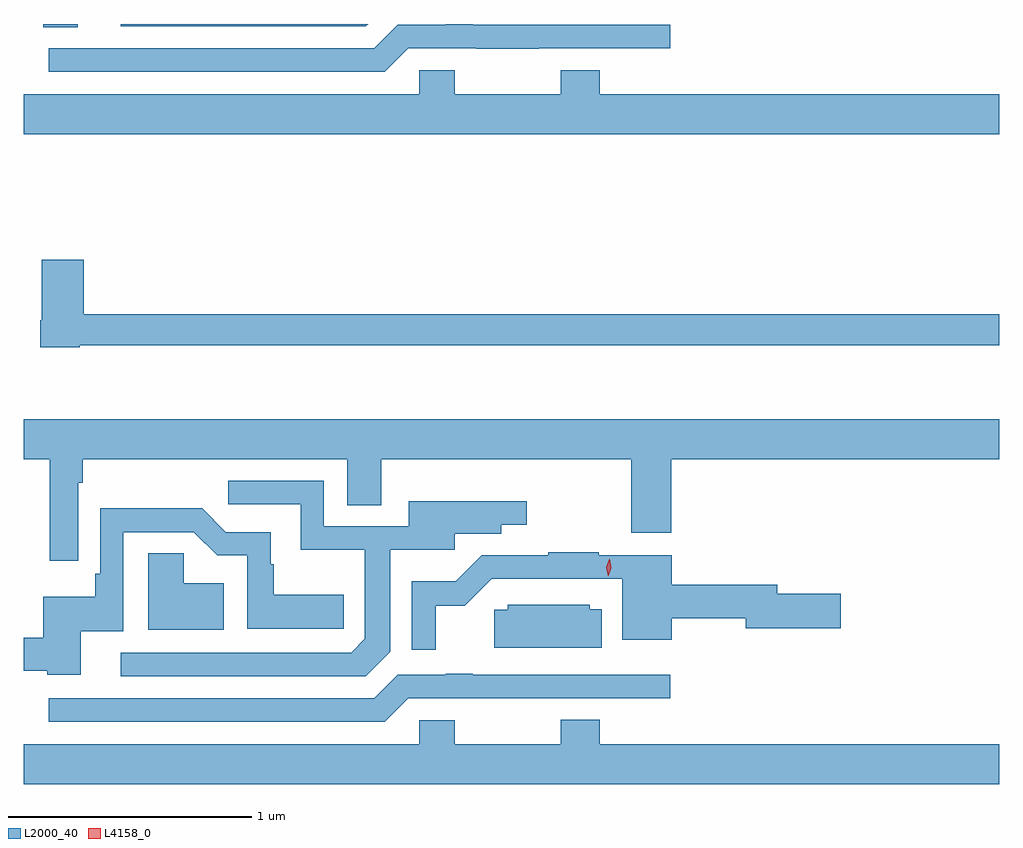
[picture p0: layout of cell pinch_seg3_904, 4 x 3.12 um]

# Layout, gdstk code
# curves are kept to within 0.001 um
import gdstk
lib = gdstk.Library(unit=1e-6, precision=1e-09)
def R(c, l, rs):  # rectangles x0, y0, x1, y1
    for r in rs: c.add(gdstk.rectangle(r[:2], r[2:], *l))
def P(c, l, *ps):  # polygons
    for p in ps: c.add(gdstk.Polygon(p, *l))
L2000_40 = (2000, 40)
L4158_0 = (4158, 0)

pinch_seg3_904 = lib.new_cell('pinch_seg3_904')
R(pinch_seg3_904, L2000_40, [(777.626,673.383,777.766,673.396)])
P(pinch_seg3_904, L2000_40, [(779.121,673.296),(780.196,673.296),(780.196,673.392),(779.387,673.392),(779.387,673.396),(779.276,673.396),(779.276,673.392),(779.079,673.392),(778.983,673.296),(777.648,673.296),(777.648,673.2),(779.025,673.2)],
  [(778.957,673.396),(777.942,673.396),(777.942,673.386),(778.947,673.386)],
  [(781.545,673.108),(779.906,673.108),(779.906,673.207),(779.746,673.207),(779.746,673.108),(779.313,673.108),(779.313,673.206),(779.166,673.206),(779.166,673.108),(777.545,673.108),(777.545,672.944),(781.545,672.944)],
  [(777.774,672.078),(781.545,672.078),(781.545,672.206),(777.791,672.206),(777.791,672.43),(777.62,672.43),(777.62,672.181),(777.613,672.181),(777.613,672.07),(777.774,672.07)],
  [(777.769,671.516),(777.787,671.516),(777.787,671.612),(778.871,671.612),(778.871,671.422),(779.011,671.422),(779.011,671.612),(780.035,671.612),(780.035,671.31),(780.2,671.31),(780.2,671.612),(781.545,671.612),(781.545,671.776),(777.545,671.776),(777.545,671.612),(777.651,671.612),(777.651,671.196),(777.769,671.196)],
  [(779.047,670.822),(779.047,671.241),(779.313,671.241),(779.313,671.306),(779.503,671.306),(779.503,671.343),(779.608,671.343),(779.608,671.44),(779.123,671.44),(779.123,671.337),(778.776,671.337),(778.776,671.523),(778.383,671.523),(778.383,671.428),(778.68,671.428),(778.68,671.24),(778.944,671.24),(778.944,670.875),(778.887,670.818),(777.942,670.818),(777.942,670.722),(778.947,670.722)],
  [(777.778,670.907),(777.954,670.907),(777.954,671.313),(778.242,671.313),(778.338,671.217),(778.461,671.217),(778.461,670.916),(778.858,670.917),(778.858,671.056),(778.57,671.056),(778.57,671.181),(778.557,671.181),(778.557,671.313),(778.374,671.313),(778.277,671.411),(777.858,671.411),(777.858,671.143),(777.838,671.143),(777.838,671.047),(777.626,671.047),(777.626,670.88),(777.545,670.88),(777.545,670.745),(777.642,670.745),(777.642,670.727),(777.778,670.727)],
  [(779.235,671.011),(779.353,671.011),(779.463,671.121),(779.999,671.121),(779.999,670.871),(780.202,670.871),(780.202,670.96),(780.506,670.96),(780.506,670.918),(780.895,670.918),(780.895,671.06),(780.634,671.06),(780.634,671.096),(780.202,671.096),(780.202,671.217),(779.903,671.217),(779.903,671.23),(779.695,671.23),(779.695,671.217),(779.422,671.217),(779.317,671.112),(779.136,671.112),(779.136,670.83),(779.235,670.83)],
  [(778.366,671.104),(778.202,671.104),(778.202,671.227),(778.055,671.227),(778.055,670.913),(778.366,670.913)],
  [(779.914,670.996),(779.865,670.996),(779.865,671.014),(779.529,671.014),(779.529,670.995),(779.475,670.995),(779.475,670.838),(779.914,670.838)],
  [(779.121,670.632),(780.196,670.632),(780.196,670.728),(779.387,670.728),(779.387,670.733),(779.276,670.733),(779.276,670.728),(779.079,670.728),(778.983,670.632),(777.648,670.632),(777.648,670.536),(779.025,670.536)],
  [(781.545,670.444),(779.906,670.444),(779.906,670.543),(779.746,670.543),(779.746,670.444),(779.313,670.444),(779.313,670.542),(779.166,670.542),(779.166,670.444),(777.545,670.444),(777.545,670.28),(781.545,670.28)])
P(pinch_seg3_904, L4158_0, [(779.941,671.132),(779.941,671.132),(779.934,671.168),(779.946,671.202),(779.946,671.202),(779.947,671.202),(779.954,671.166),(779.941,671.132)])

lib.write_gds('pinch_seg3_904.gds')
